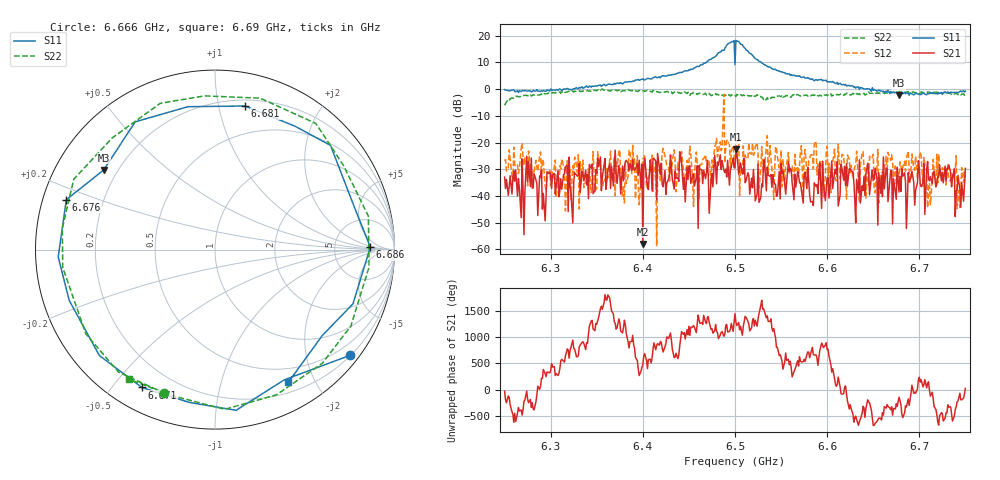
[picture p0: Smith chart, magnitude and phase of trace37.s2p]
# Hz S RI R 50
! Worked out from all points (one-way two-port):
!   401 points, 6.25 GHz to 6.75 GHz, reference 50 ohm
!   highest |S21| = -22.48 dB at 6.501 GHz (marker M1); lowest = -58.0 dB at 6.4 GHz (marker M2)
!   lowest |S11| = -2.4 dB at 6.678 GHz (marker M3), VSWR 7.42, Z = 7.42 + j15.7 ohm
!   |S11| at or under -10 dB: nowhere
!   |S22| runs from -6.0 to 0.0 dB; largest |S21 - S12| = 0.83
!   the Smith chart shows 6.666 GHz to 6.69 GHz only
!   S11 on the Smith chart (normalised r, x): 6.666 GHz: 0.22, -2.88; 6.671 GHz: 0.10, -0.60; 6.676 GHz: 0.07, +0.16; 6.681 GHz: 0.25, +1.20; 6.686 GHz: 14, +2; 6.69 GHz: 0.32, -1.65
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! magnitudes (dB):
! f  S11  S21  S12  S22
! 6.25 GHz  -0.2  -32.9  -26.8  -6.0
! 6.276 GHz  -0.6  -27.0  -23.2  -2.8
! 6.294 GHz  -0.8  -49.4  -36.1  -1.7
! 6.334 GHz  0.8  -30.8  -32.9  -0.9
! 6.4 GHz  3.9  -58.0  -25.9  -0.7
! 6.418 GHz  4.6  -29.3  -30.2  -1.2
! 6.424 GHz  4.9  -30.4  -25.0  -1.2
! 6.5 GHz  9.2  -29.5  -26.8  -2.3
! 6.501 GHz  18.2  -22.5  -25.8  -2.7
! 6.584 GHz  3.8  -42.1  -24.6  -2.3
! 6.666 GHz  -0.4  -42.1  -23.7  -1.4
! 6.668 GHz  -1.7  -34.5  -25.6  -1.2
! 6.671 GHz  -1.2  -50.5  -27.2  -1.3
! 6.676 GHz  -1.2  -29.2  -29.6  -1.3
! 6.678 GHz  -2.4  -38.5  -32.9  -1.1
! 6.681 GHz  -1.8  -29.8  -32.4  -1.2
! 6.686 GHz  -1.3  -52.2  -25.8  -1.1
! 6.69 GHz  -1.5  -33.9  -34.8  -1.2
! 6.704 GHz  -1.5  -35.0  -36.4  -1.2
! 6.711 GHz  -1.5  -34.3  -35.2  -1.1
! 6.721 GHz  -1.3  -32.9  -24.3  -1.1
! 6.75 GHz  -0.7  -29.7  -34.3  -2.1
